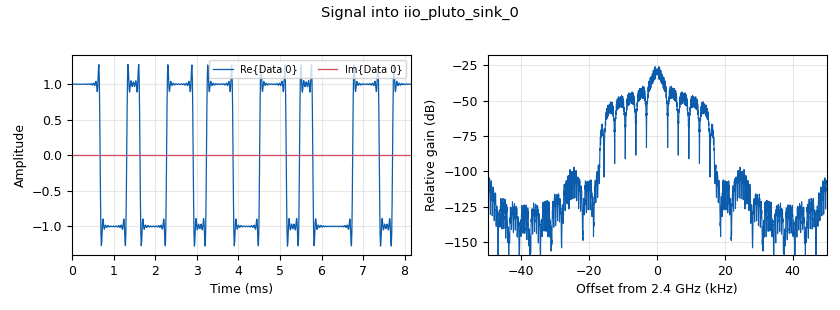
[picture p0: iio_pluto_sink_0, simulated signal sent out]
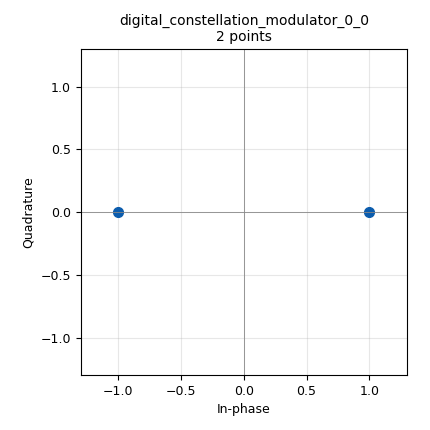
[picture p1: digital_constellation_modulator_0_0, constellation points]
options:
  parameters:
    author: Jose Sanchez
    category: Custom
    generate_options: no_gui
    id: PSK_TX
    output_language: python
    title: PSK_TX
  states: {}

blocks:
- name: ConstObj
  id: variable_constellation
  parameters:
    precision: '8'
    type: bpsk
  states: {}
- name: M
  id: variable
  parameters:
    value: '2'
  states: {}
- name: SDR_ID
  id: variable
  parameters:
    value: '"ip:192.168.2.1"'
  states: {}
- name: bandwidth
  id: variable
  parameters:
    value: '20000000'
  states: {}
- name: bps
  id: variable
  parameters:
    value: int(math.log(M,2))
  states: {}
- name: buffer_size
  id: variable
  parameters:
    value: '32768'
  states: {}
- name: excess_bw
  id: variable
  parameters:
    value: '0.35'
  states: {}
- name: freq
  id: variable
  parameters:
    value: '2400000000'
  states: {}
- name: gain
  id: variable
  parameters:
    value: '0'
  states: {}
- name: samp_rate
  id: variable
  parameters:
    value: int(100e3)
  states: {}
- name: sps
  id: variable
  parameters:
    value: '4'
  states: {}
- name: analog_random_source_x_0_0
  id: analog_random_source_x
  parameters:
    max: '2'
    min: '0'
    num_samps: '1000'
    repeat: 'True'
    type: byte
  states: {}
- name: blocks_repack_bits_bb_0_0
  id: blocks_repack_bits_bb
  parameters:
    endianness: gr.GR_LSB_FIRST
    k: '1'
    l: bps
  states: {}
- name: digital_constellation_modulator_0_0
  id: digital_constellation_modulator
  parameters:
    constellation: ConstObj
    differential: 'True'
    excess_bw: excess_bw
    samples_per_symbol: sps
  states: {}
- name: iio_pluto_sink_0
  id: iio_pluto_sink
  parameters:
    attenuation1: gain
    bandwidth: bandwidth
    buffer_size: buffer_size
    cyclic: 'True'
    filter_source: '''Auto'''
    frequency: freq
    samplerate: samp_rate
    type: fc32
    uri: SDR_ID
  states: {}
- name: import_0
  id: import
  parameters:
    imports: import math
  states: {}

connections:
- [analog_random_source_x_0_0, '0', blocks_repack_bits_bb_0_0, '0']
- [blocks_repack_bits_bb_0_0, '0', digital_constellation_modulator_0_0, '0']
- [digital_constellation_modulator_0_0, '0', iio_pluto_sink_0, '0']

metadata:
  file_format: 1
  grc_version: 3.10.6.0
